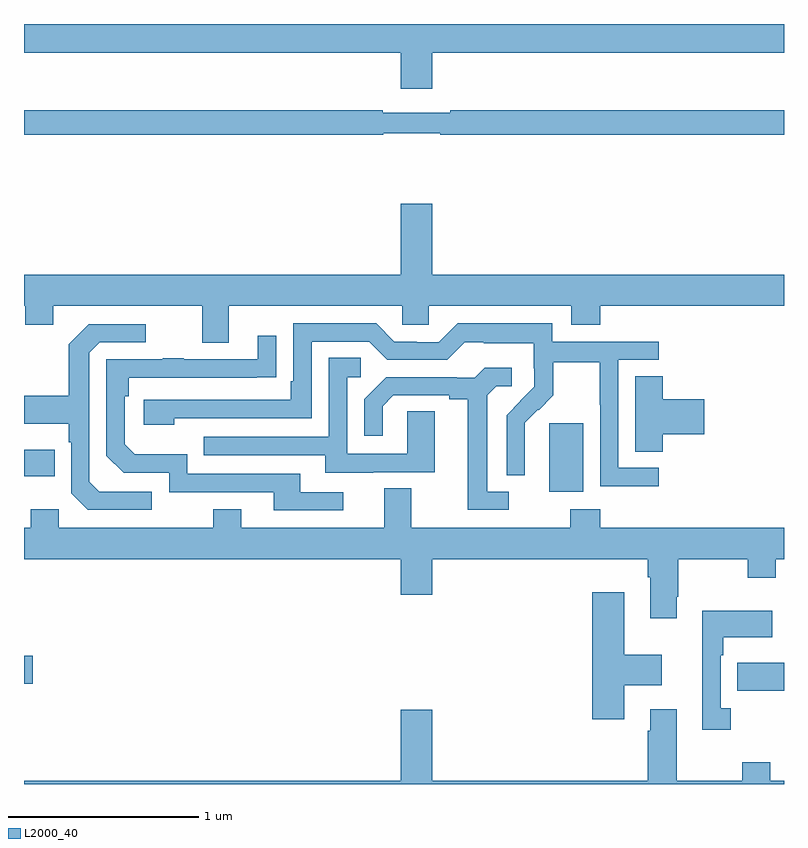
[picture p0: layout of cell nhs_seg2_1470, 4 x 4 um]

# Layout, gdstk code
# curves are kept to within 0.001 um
import gdstk
lib = gdstk.Library(unit=1e-6, precision=1e-09)
def R(c, l, rs):  # rectangles x0, y0, x1, y1
    for r in rs: c.add(gdstk.rectangle(r[:2], r[2:], *l))
def P(c, l, *ps):  # polygons
    for p in ps: c.add(gdstk.Polygon(p, *l))
L2000_40 = (2000, 40)

nhs_seg2_1470 = lib.new_cell('nhs_seg2_1470')
R(nhs_seg2_1470, L2000_40, [(190.753,632.29,191,632.437), (187,632.327,187.045,632.474), (189.764,633.338,189.943,633.699), (187,633.419,187.163,633.559)])
P(nhs_seg2_1470, L2000_40, [(191,635.8),(187,635.8),(187,635.648),(188.984,635.648),(188.984,635.46),(189.148,635.46),(189.148,635.648),(191,635.648)],
  [(188.89,635.226),(189.19,635.226),(189.19,635.218),(191,635.218),(191,635.347),(189.244,635.347),(189.244,635.334),(188.888,635.334),(188.888,635.347),(187,635.347),(187,635.218),(188.89,635.218)],
  [(188.077,634.316),(188.991,634.316),(188.991,634.218),(189.129,634.218),(189.129,634.316),(189.881,634.316),(189.881,634.217),(190.034,634.217),(190.034,634.316),(191,634.316),(191,634.48),(189.148,634.48),(189.148,634.855),(188.984,634.855),(188.984,634.48),(187,634.48),(187,634.316),(187.006,634.316),(187.006,634.217),(187.153,634.217),(187.153,634.316),(187.937,634.316),(187.937,634.122),(188.077,634.122)],
  [(190.342,633.465),(190.128,633.465),(190.128,634.032),(190.342,634.032),(190.342,634.128),(189.78,634.128),(189.78,634.225),(189.283,634.225),(189.183,634.125),(189.068,634.125),(189.068,634.128),(188.949,634.128),(188.853,634.224),(188.418,634.224),(188.418,633.919),(188.405,633.919),(188.405,633.822),(187.629,633.822),(187.629,633.692),(187.79,633.692),(187.79,633.726),(188.514,633.726),(188.514,634.128),(188.817,634.128),(188.913,634.032),(189.228,634.032),(189.321,634.125),(189.421,634.125),(189.421,634.121),(189.684,634.121),(189.684,633.987),(189.686,633.987),(189.686,633.89),(189.54,633.742),(189.54,633.424),(189.636,633.424),(189.635,633.701),(189.705,633.771),(189.708,633.768),(189.785,633.845),(189.785,634.02),(190.03,634.02),(190.03,633.796),(190.032,633.796),(190.032,633.367),(190.342,633.367)],
  [(187.672,633.339),(187.395,633.339),(187.344,633.39),(187.344,634.071),(187.398,634.125),(187.642,634.125),(187.642,634.221),(187.341,634.221),(187.236,634.115),(187.236,633.843),(187,633.843),(187,633.695),(187.236,633.695),(187.236,633.599),(187.248,633.599),(187.248,633.33),(187.335,633.243),(187.672,633.243)],
  [(188.68,633.336),(188.455,633.336),(188.455,633.432),(187.86,633.432),(187.86,633.535),(187.583,633.535),(187.53,633.588),(187.53,633.842),(187.55,633.842),(187.55,633.939),(188.327,633.94),(188.327,634.159),(188.231,634.159),(188.231,634.035),(187.841,634.035),(187.841,634.04),(187.729,634.04),(187.729,634.035),(187.434,634.035),(187.434,633.528),(187.524,633.438),(187.764,633.438),(187.764,633.336),(188.315,633.336),(188.315,633.24),(188.68,633.24)],
  [(188.839,633.441),(189.163,633.441),(189.163,633.761),(189.018,633.761),(189.018,633.537),(188.7,633.537),(188.7,633.942),(188.773,633.942),(188.773,634.043),(188.604,634.043),(188.604,633.627),(187.945,633.627),(187.945,633.531),(188.585,633.531),(188.585,633.437),(188.839,633.437)],
  [(189.55,633.339),(189.439,633.339),(189.439,633.847),(189.486,633.894),(189.568,633.894),(189.568,633.991),(189.424,633.991),(189.372,633.939),(189.278,633.939),(189.278,633.942),(188.906,633.942),(188.79,633.826),(188.79,633.633),(188.887,633.633),(188.887,633.789),(188.944,633.846),(189.239,633.846),(189.239,633.824),(189.335,633.824),(189.335,633.243),(189.55,633.243)],
  [(190.361,633.641),(190.579,633.641),(190.579,633.824),(190.361,633.824),(190.361,633.947),(190.217,633.947),(190.217,633.55),(190.361,633.55)],
  [(190.435,632.785),(190.443,632.785),(190.443,632.984),(190.81,632.984),(190.81,632.885),(190.956,632.885),(190.956,632.984),(191,632.984),(191,633.148),(190.034,633.148),(190.034,633.247),(189.874,633.247),(189.874,633.148),(189.037,633.148),(189.037,633.356),(188.897,633.356),(188.897,633.148),(188.143,633.148),(188.143,633.247),(187.996,633.247),(187.996,633.148),(187.182,633.148),(187.182,633.247),(187.036,633.247),(187.036,633.148),(187,633.148),(187,632.984),(188.984,632.984),(188.984,632.796),(189.148,632.796),(189.148,632.984),(190.283,632.984),(190.283,632.888),(190.295,632.888),(190.295,632.673),(190.435,632.673)],
  [(190.159,632.321),(190.357,632.321),(190.357,632.479),(190.159,632.479),(190.159,632.809),(189.992,632.809),(189.992,632.142),(190.159,632.142)],
  [(190.72,632.198),(190.668,632.198),(190.668,632.477),(190.681,632.477),(190.681,632.573),(190.937,632.573),(190.937,632.713),(190.571,632.713),(190.571,632.085),(190.72,632.085)],
  [(191,631.816),(190.927,631.816),(190.927,631.915),(190.78,631.915),(190.78,631.816),(190.435,631.816),(190.435,632.194),(190.295,632.194),(190.295,632.081),(190.283,632.081),(190.283,631.816),(189.148,631.816),(189.148,632.191),(188.984,632.191),(188.984,631.816),(187,631.816),(187,631.8),(191,631.8)])

lib.write_gds('nhs_seg2_1470.gds')
